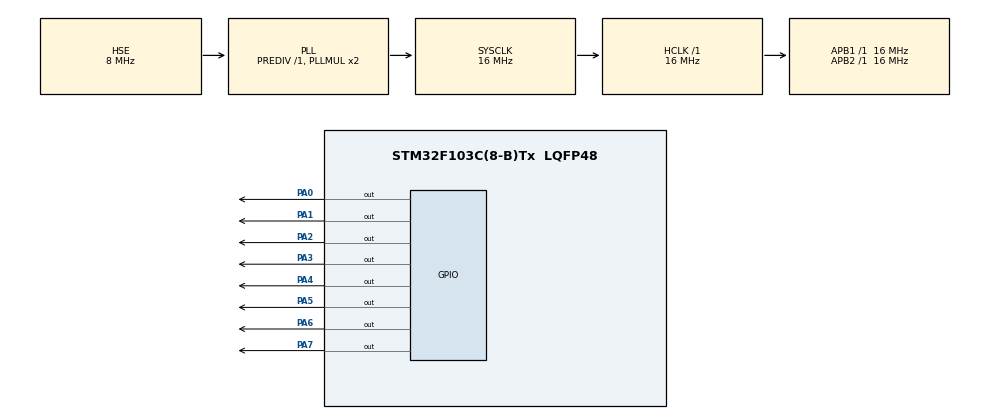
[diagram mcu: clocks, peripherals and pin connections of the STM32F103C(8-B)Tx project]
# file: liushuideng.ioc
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Mcu.Family=STM32F1
Mcu.Name=STM32F103C(8-B)Tx
Mcu.Package=LQFP48
NVIC.PriorityGroup=NVIC_PRIORITYGROUP_4
PA0-WKUP.GPIO_PuPd=GPIO_NOPULL
PA0-WKUP.GPIO_Speed=GPIO_SPEED_FREQ_LOW
PA0-WKUP.Signal=GPIO_Output
PA1.GPIO_ModeDefaultOutputPP=GPIO_MODE_OUTPUT_PP
PA1.Signal=GPIO_Output
PA13.Mode=Trace_Asynchronous_SW
PA13.Signal=SYS_JTMS-SWDIO
PA14.Mode=Trace_Asynchronous_SW
PA14.Signal=SYS_JTCK-SWCLK
PA2.GPIO_ModeDefaultOutputPP=GPIO_MODE_OUTPUT_PP
PA2.Signal=GPIO_Output
PA3.GPIO_Speed=GPIO_SPEED_FREQ_LOW
PA3.Signal=GPIO_Output
PA4.GPIO_Speed=GPIO_SPEED_FREQ_LOW
PA4.Signal=GPIO_Output
PA5.PinState=GPIO_PIN_RESET
PA5.Signal=GPIO_Output
PA6.PinState=GPIO_PIN_RESET
PA6.Signal=GPIO_Output
PA7.PinState=GPIO_PIN_RESET
PA7.Signal=GPIO_Output
PB3.Mode=Trace_Asynchronous_SW
PB3.Signal=SYS_JTDO-TRACESWO
PD0-OSC_IN.Mode=HSE-External-Oscillator
PD0-OSC_IN.Signal=RCC_OSC_IN
PD1-OSC_OUT.Mode=HSE-External-Oscillator
PD1-OSC_OUT.Signal=RCC_OSC_OUT
ProjectManager.HeapSize=0x200
ProjectManager.StackSize=0x400
ProjectManager.TargetToolchain=CMake
RCC.AHBFreq_Value=16000000
RCC.APB1Freq_Value=16000000
RCC.APB1TimFreq_Value=16000000
RCC.APB2Freq_Value=16000000
RCC.APB2TimFreq_Value=16000000
RCC.HCLKFreq_Value=16000000
RCC.PLLSourceVirtual=RCC_PLLSOURCE_HSE
RCC.SYSCLKFreq_VALUE=16000000
RCC.SYSCLKSource=RCC_SYSCLKSOURCE_PLLCLK
RCC.USBFreq_Value=16000000
board=custom

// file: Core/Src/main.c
/* USER CODE BEGIN Header */
/**
  ******************************************************************************
  * @file           : main.c
  * @brief          : Main program body
  ******************************************************************************
  * @attention
  *
  * Copyright (c) 2026 STMicroelectronics.
  * All rights reserved.
  *
  * This software is licensed under terms that can be found in the LICENSE file
  * in the root directory of this software component.
  * If no LICENSE file comes with this software, it is provided AS-IS.
  *
  ******************************************************************************
  */
/* USER CODE END Header */
#include "main.h"
#include "gpio.h"

void SystemClock_Config(void);

int main(void)
{

  /* MCU Configuration--------------------------------------------------------*/

  /* Reset of all peripherals, Initializes the Flash interface and the Systick. */
  HAL_Init();

  /* Configure the system clock */
  SystemClock_Config();

  /* Initialize all configured peripherals */
  MX_GPIO_Init();

  /* Infinite loop */
  /* USER CODE BEGIN WHILE */
  while (1)
  {
    HAL_GPIO_TogglePin(GPIOA, GPIO_PIN_0);
    HAL_Delay(200);
    HAL_GPIO_TogglePin(GPIOA, GPIO_PIN_1);
    HAL_Delay(200);
    HAL_GPIO_TogglePin(GPIOA, GPIO_PIN_2);
    HAL_Delay(200);
    HAL_GPIO_TogglePin(GPIOA, GPIO_PIN_3);
    HAL_Delay(200);
    HAL_GPIO_TogglePin(GPIOA, GPIO_PIN_4);
    HAL_Delay(200);
    HAL_GPIO_TogglePin(GPIOA, GPIO_PIN_5);
    HAL_Delay(200);
    HAL_GPIO_TogglePin(GPIOA, GPIO_PIN_6);
    HAL_Delay(200);
    HAL_GPIO_TogglePin(GPIOA, GPIO_PIN_7);
    HAL_Delay(200);
    /* USER CODE END WHILE */

  }
}

void SystemClock_Config(void)
{
  RCC_OscInitTypeDef RCC_OscInitStruct = {0};
  RCC_ClkInitTypeDef RCC_ClkInitStruct = {0};

  /** Initializes the RCC Oscillators according to the specified parameters
  * in the RCC_OscInitTypeDef structure.
  */
  RCC_OscInitStruct.OscillatorType = RCC_OSCILLATORTYPE_HSE;
  RCC_OscInitStruct.HSEState = RCC_HSE_ON;
  RCC_OscInitStruct.HSEPredivValue = RCC_HSE_PREDIV_DIV1;
  RCC_OscInitStruct.HSIState = RCC_HSI_ON;
  RCC_OscInitStruct.PLL.PLLState = RCC_PLL_ON;
  RCC_OscInitStruct.PLL.PLLSource = RCC_PLLSOURCE_HSE;
  RCC_OscInitStruct.PLL.PLLMUL = RCC_PLL_MUL2;
  if (HAL_RCC_OscConfig(&RCC_OscInitStruct) != HAL_OK)
  {
    Error_Handler();
  }

  /** Initializes the CPU, AHB and APB buses clocks
  */
  RCC_ClkInitStruct.ClockType = RCC_CLOCKTYPE_HCLK|RCC_CLOCKTYPE_SYSCLK
                              |RCC_CLOCKTYPE_PCLK1|RCC_CLOCKTYPE_PCLK2;
  RCC_ClkInitStruct.SYSCLKSource = RCC_SYSCLKSOURCE_PLLCLK;
  RCC_ClkInitStruct.AHBCLKDivider = RCC_SYSCLK_DIV1;
  RCC_ClkInitStruct.APB1CLKDivider = RCC_HCLK_DIV1;
  RCC_ClkInitStruct.APB2CLKDivider = RCC_HCLK_DIV1;

  if (HAL_RCC_ClockConfig(&RCC_ClkInitStruct, FLASH_LATENCY_0) != HAL_OK)
  {
    Error_Handler();
  }
}

void Error_Handler(void)
{
  __disable_irq();
  while (1)
  {
  }
}
